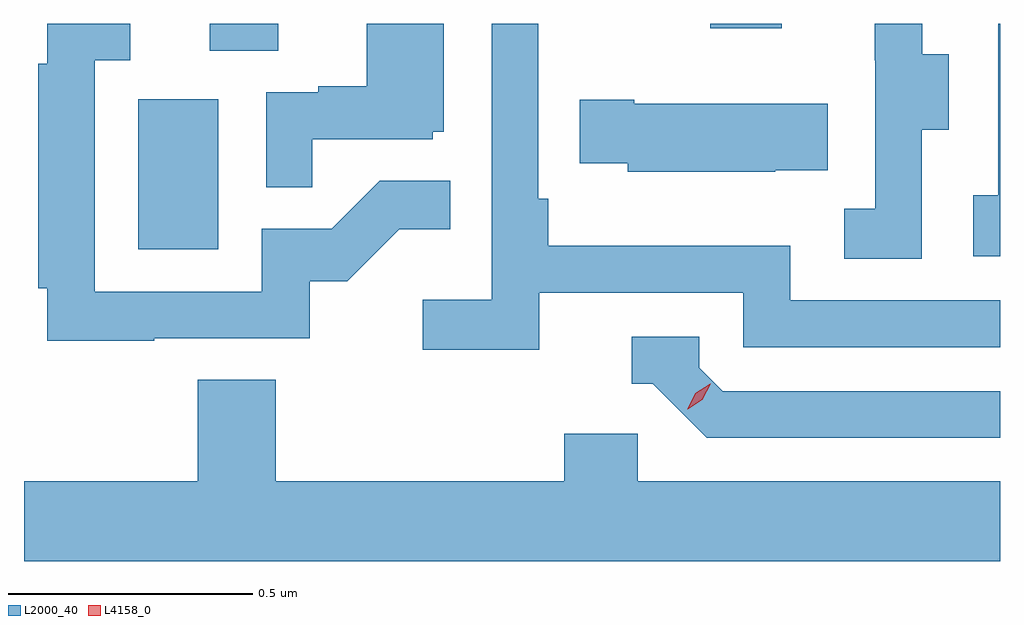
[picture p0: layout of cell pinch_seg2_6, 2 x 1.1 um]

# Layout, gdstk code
import gdstk
lib = gdstk.Library(unit=1e-6, precision=1e-09)
def R(c, l, rs):  # rectangles x0, y0, x1, y1
    for r in rs: c.add(gdstk.rectangle(r[:2], r[2:], *l))
def P(c, l, *ps):  # polygons
    for p in ps: c.add(gdstk.Polygon(p, *l))
L2000_40 = (2000, 40)
L4158_0 = (4158, 0)

pinch_seg2_6 = lib.new_cell('pinch_seg2_6')
R(pinch_seg2_6, L2000_40, [(1124.582,664.26,1124.746,664.567), (1124.729,664.666,1124.869,664.722), (1125.754,664.713,1125.901,664.722)])
P(pinch_seg2_6, L2000_40, [(1124.939,664.485),(1125.186,664.485),(1125.186,664.5),(1125.208,664.5),(1125.208,664.722),(1125.05,664.722),(1125.05,664.594),(1124.951,664.594),(1124.951,664.581),(1124.844,664.581),(1124.844,664.387),(1124.939,664.387)],
  [(1124.615,664.077),(1124.934,664.077),(1124.934,664.194),(1125.01,664.194),(1125.117,664.301),(1125.221,664.301),(1125.221,664.4),(1125.077,664.4),(1124.979,664.302),(1124.835,664.302),(1124.835,664.173),(1124.493,664.173),(1124.493,664.647),(1124.566,664.647),(1124.566,664.722),(1124.396,664.722),(1124.396,664.64),(1124.377,664.64),(1124.377,664.18),(1124.396,664.18),(1124.396,664.072),(1124.615,664.072)],
  [(1126.348,664.722),(1126.344,664.722),(1126.344,664.37),(1126.293,664.37),(1126.293,664.245),(1126.348,664.245)],
  [(1125.404,664.17),(1125.822,664.17),(1125.822,664.059),(1126.348,664.059),(1126.348,664.155),(1125.918,664.155),(1125.918,664.267),(1125.422,664.267),(1125.422,664.363),(1125.402,664.363),(1125.402,664.722),(1125.306,664.722),(1125.306,664.156),(1125.165,664.156),(1125.165,664.054),(1125.404,664.054)],
  [(1126.188,664.504),(1126.243,664.504),(1126.243,664.659),(1126.189,664.659),(1126.189,664.722),(1126.091,664.722),(1126.091,664.647),(1126.092,664.647),(1126.092,664.343),(1126.029,664.343),(1126.029,664.24),(1126.188,664.24)],
  [(1125.887,664.421),(1125.995,664.421),(1125.995,664.558),(1125.598,664.558),(1125.598,664.566),(1125.487,664.566),(1125.487,664.436),(1125.585,664.436),(1125.585,664.418),(1125.887,664.418)],
  [(1126.348,663.969),(1125.78,663.969),(1125.732,664.017),(1125.732,664.08),(1125.593,664.08),(1125.593,663.984),(1125.636,663.984),(1125.747,663.873),(1126.348,663.873)],
  [(1126.348,663.784),(1125.606,663.784),(1125.606,663.882),(1125.455,663.882),(1125.455,663.784),(1124.864,663.784),(1124.864,663.992),(1124.704,663.992),(1124.704,663.784),(1124.348,663.784),(1124.348,663.62),(1126.348,663.62)])
P(pinch_seg2_6, L4158_0, [(1125.707,663.932),(1125.707,663.932),(1125.724,663.965),(1125.754,663.984),(1125.755,663.984),(1125.755,663.984),(1125.738,663.951),(1125.708,663.932)])

lib.write_gds('pinch_seg2_6.gds')
